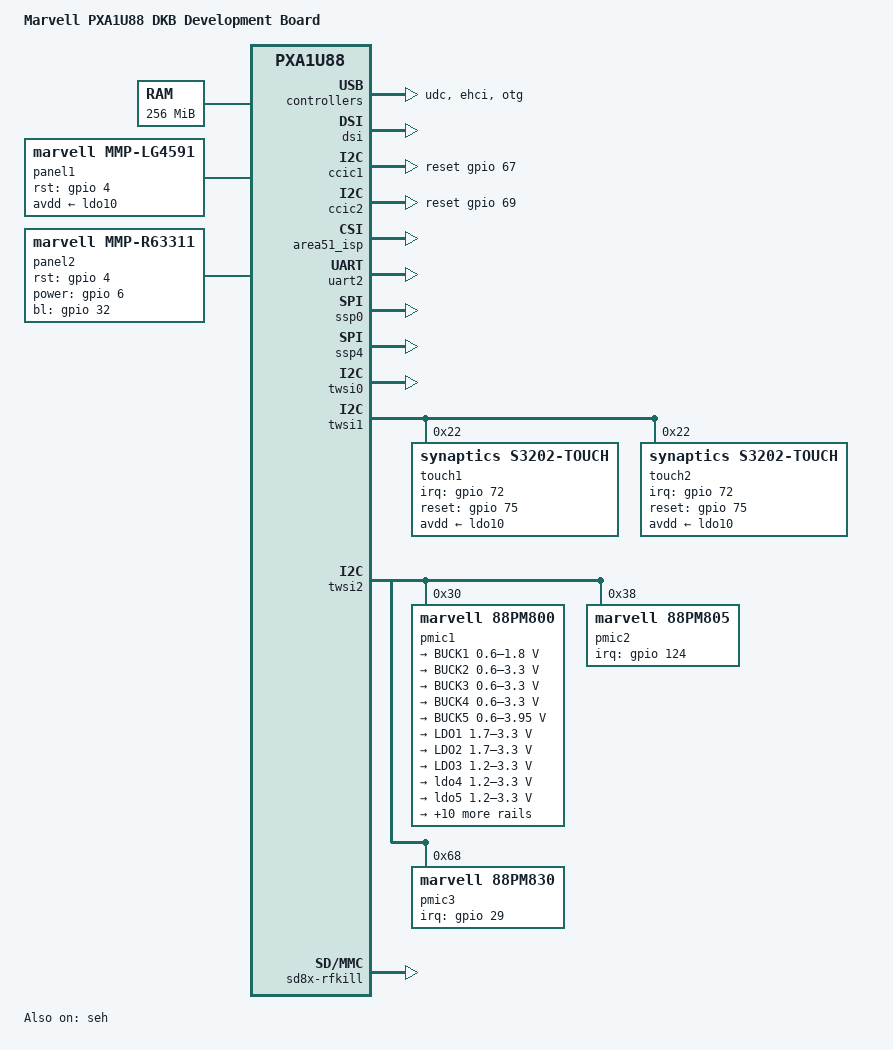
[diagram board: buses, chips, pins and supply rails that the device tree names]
/*
 *  Copyright (C) 2012 Marvell Technology Group Ltd.
 *  Author: Haojian Zhuang <haojian.zhuang@marvell.com>
 *
 *  This program is free software; you can redistribute it and/or modify
 *  it under the terms of the GNU General Public License version 2 as
 *  publishhed by the Free Software Foundation.
 */

/dts-v1/;
/memreserve/ 0x00000000 0x00100000;	/* OBM (1MB) */
/memreserve/ 0x09000000 0x01000000;	/* ION (16MB)*/
/memreserve/ 0x17000000 0x01800000;	/* Frame buffer (24MB) */
#include "pxa1U88.dtsi"

/ {
	model = "Marvell PXA1U88 DKB Development Board";
	compatible = "mrvl,pxa1U88-dkb", "mrvl,pxa1U88";

	chosen {
		bootargs = "console=ttyS0,115200 root=/dev/nfs nfsroot=192.168.1.100:/nfsroot/ ip=192.168.1.101:192.168.1.100::255.255.255.0::eth0:on";
	};

	memory {
		reg = <0x00000000 0x10000000>;
	};

	gic: interrupt-controller@d1dfa000 {
		status = "okay";
	};

	timer {
		status = "okay";
	};

	pmu {
		status = "okay";
	};

	soc {
		clock: clock-controller {
			status = "okay";
		};

		iommu@c0010000 {  /* iommu in vpu */
			status = "okay";
		};

		ddr@c0100000 {  /* DDR memory controller */
			status = "okay";
		};

		axi@d4200000 {	/* AXI */
			coda7542: coda7542@d420d000 {
				marvell,sram-internal = <1>;
				marvell,nv21_support = <1>;
				status = "okay";
			};

			intc: wakeupgen@d4282000 {
				status = "okay";
			};

			usbphy: usbphy@d4207000 {
				status = "okay";
			};

			udc: udc@d4208100 {
				status = "okay";
			};

			ehci: ehci@d4208100 {
				status = "okay";
			};

			otg: otg@d4208100 {
				status = "okay";
			};

			dsi: dsi@d420b800 {
				marvell,phy-name = "mmp_dsi1";
				marvell,plat-path-name = "mmp_pnpath";
				marvell,dsi-lanes = <4>;
				marvell,burst-mode = <2>;
				marvell,hbp-en;
				status = "okay";
			};

			vdma: vdma@d4209000 {
				marvell,vdma-num = <2>;
				status = "okay";
				vdma1 {
					marvell,vdma-id = <0>;
					marvell,sram-size = <30720>;
					marvell,is_vid = <0>;
				};
				vdma2 {
					marvell,vdma-id = <2>;
					marvell,sram-size = <30720>;
					marvell,is_vid = <1>;
				};
			};

			apical: apical@d420b400 {
				marvell,apical-num = <1>;
				status = "okay";
			};

			disp: disp@d420b000 {
				marvell,disp-name = "disp_name";
				marvell,path-num = <1>;
				status = "okay";
				path1 {
					marvell,path-name = "mmp_pnpath";
					marvell,overlay-num = <2>;
					marvell,overlay-table = <0>, <1>;
					marvell,output-type = <1>;
					marvell,path-config = <0x10>;
					marvell,link-config = <0x1>;
					1080p {
						disp1_clksrc = "pll1_416m";
						dsipll_clksrc = "pll1_832m";
						pn_sclk_clksrc = "dsi_pll";
					};
					720p {
						disp1_clksrc = "pll1_416m";
						dsipll_clksrc = "pll3";
						pn_sclk_clksrc = "disp1";
					};
					qhd {
						disp1_clksrc = "pll1_416m";
						dsipll_clksrc = "pll3";
						pn_sclk_clksrc = "disp1";
					};
				};
			};

			fb0: fbbase {
				marvell,fb-name = "mmp-fb";
				marvell,path-name = "mmp_pnpath";
				marvell,overlay-id = <1>;
				marvell,default-pixfmt = <0x108>;
				marvell,buffer-num = <3>;
				marvell,fb-mem = <0x17000000>;
				status = "okay";
			};

			fb1: fboverlay {
				marvell,fb-name = "mmp-fb-overlay";
				marvell,path-name = "mmp_pnpath";
				marvell,overlay-id = <0>;
				status = "okay";
			};

			/* eMMC */
			sdh3: sdh@d4281000 {
				pinctrl-names = "default";
				pinctrl-0 = <&sdh3_pmx_func1 &sdh3_pmx_func2>;
				bus-width = <8>;
				mrvl,clk-delay-cycles = <0x0>;
				non-removable;
				status = "okay";
			};

			/* SD card */
			sdh1: sdh@d4280000 {
				pinctrl-names = "default";
				pinctrl-0 = <&sdh1_pmx_func1 &sdh1_pmx_func2 &sdh1_pmx_func3 &sdh1_pmx_func4>;
				vqmmc-supply	= <&ldo5>;
				vmmc-supply	= <&ldo4>;
				cd-gpio = <&gpio 91 0>;
				bus-width = <4>;
				mrvl,clk-delay-cycles = <0x1f>;
				wp-inverted;
				status = "okay";
			};

			/* SDIO */
			sdh2: sdh@d4280800 {
				pinctrl-names = "default";
				pinctrl-0 = <&sdh2_pmx_func1 &sdh2_pmx_func2 &sdh2_pmx_func3 &sdh2_pmx_func4>;
				bus-width = <4>;
				mrvl,clk-delay-cycles = <0x0>;
				status = "okay";
			};

			ccic1: ccic@d420a000 {
			   pinctrl-names = "default";
			   pinctrl-0 = <&ccic1_pmx_func>;
			   pwdn-gpios = <&gpio 80 0>;
			   reset-gpios = <&gpio 67 0>;
			   af_2v8-supply = <&ldo10>;
			   avdd_2v8-supply = <&ldo11>;
			   dovdd_1v8-supply = <&voutsw>;
			   dvdd_1v2-supply = <&ldo12>;
			   status = "okay";
			};

			ccic2: ccic@d420a800 {
			   pinctrl-names = "default";
			   pinctrl-0 = <&ccic2_pmx_func>;
			   pwdn-gpios = <&gpio 68 0>;
			   reset-gpios = <&gpio 69 0>;
			   af_2v8-supply = <&ldo10>;
			   avdd_2v8-supply = <&ldo11>;
			   dovdd_1v8-supply = <&voutsw>;
			   dvdd_1v2-supply = <&ldo12>;
			   status = "okay";
			};

			area51_isp: area51_isp@0xD420F000 {
				status = "okay";
			};

			area51_ipc: area51_ipc@0xD4240000 {
				status = "okay";
			};

			vpu-devfreq {
				status = "okay";
			};

			asram: asram@d12a0000 {
				status = "okay";
			};

			adma0: adma@d128d800 {
				interrupts = <82>;
				status = "okay";
			};
			adma1: adma@d128d900 {
				interrupts = <83>;
				status = "okay";
			};
		};

		apb@d4000000 {
			pdma0: pdma@d4000000 {
				status = "okay";
			};

			timer2: timer@d401f000 {
				status = "okay";
			};

			uart2: uart@d4017000 {
				pinctrl-names = "default", "sleep";
				pinctrl-0 = <&uart2_pmx_func1 &uart2_pmx_func2>;
				pinctrl-1 = <&uart2_pmx_func1_sleep &uart2_pmx_func2>;
				edge-wakeup-gpio = <47>; /* GPIO47: UART rx pin */
				status = "okay";
			};

			edgewakeup: edgewakeup@d4019800 {
				status = "okay";
			};

			rtc: rtc@d4010000 {
				status = "okay";
			};

			thermal: thermal@d4013300 {
				status = "okay";
			};

			watchdog: watchdog@d4080000 {
				status = "okay";
			};

			keypad: keypad@d4012000 {
				keypad,num-rows = <2>;
				keypad,num-columns = <1>;
				linux,keymap = <0x00000073
						0x01000072>;
				marvell,debounce-interval = <30>;
				pinctrl-names = "default";
				pinctrl-0 = <&keypad_in_func  &keypad_out_func>;
				status = "okay";
			};

			keyreset {
				compatible = "marvell,keyreset";
				keys-down = <0x73 0x72>;
				keyreset-need-panic;
			};

			ssp0: ssp@d401b000 {
				status = "okay";
			};

			ssp4: ssp@d4039000 {
				status = "okay";
			};

			ssp_dai4: pxa-ssp-dai@4 {
				compatible = "mrvl,pxa-ssp-dai";
				reg = <0x4 0x0>;
				port = <&ssp4>;
				pinctrl-names = "default","ssp";
				pinctrl-0 = <&gssp_gpio>;
				pinctrl-1 = <&gssp_func>;
				ssp-gpio = <&gpio 25 0 &gpio 26 0 &gpio 27 0 &gpio 28 0>;
				dmas = <&pdma0 6 0
					&pdma0 7 0>;
				dma-names = "rx", "tx";
				platform_driver_name = "pdma_platform";
				burst_size = <8>;
				playback_period_bytes = <4096>;
				playback_buffer_bytes = <131072>;
				capture_period_bytes = <4096>;
				capture_buffer_bytes = <131072>;
			};

			/* SSPA port 0 */
			sspa0: sspa@d128dc00 {
				playback_period_bytes = <4096>;
				playback_buffer_bytes = <12288>;
				capture_period_bytes = <4096>;
				capture_buffer_bytes = <12288>;
				status = "okay";
			};

			/* SSPA port 1 */
			sspa1: sspa@d128dd00 {
				playback_period_bytes = <4096>;
				playback_buffer_bytes = <12288>;
				capture_period_bytes = <4096>;
				capture_buffer_bytes = <12288>;
				status = "okay";
			};

			map: map@d1200000 {
				status = "okay";
			};

			gpio: gpio@d4019000 {
				status = "okay";
				/*
				 * In theorical, some gpios could be routed to
				 * multiple pins. So define the gpio-ranges in
				 * board file, not silicon file.
				 */
				gcb0: gpio@d4019000 {
					/* gpio offset, pin offset, nr pins */
					gpio-ranges = <&pmx 0 55 32>;
				};
				gcb1: gpio@d4019004 {
					gpio-ranges = <&pmx 0 87 23>;
				};
				gcb2: gpio@d4019008 {
					gpio-ranges = <&pmx 3 110 29>;
				};
				gcb3: gpio@d4019100 {
					gpio-ranges = <&pmx 0 139 3  &pmx 28 52 1>;
				};
			};
			pmx: pinmux@d401e000 {
				status = "okay";

				/* pin base, nr pins & gpio function */
				pinctrl-single,gpio-range = <
					/*
					 * GPIO number is hardcoded for range at here.
					 * In gpio chip, GPIO number is not hardcoded for range.
					 * Since one gpio pin may be routed to multiple pins,
					 * define these gpio range in pxa910-dkb.dts not pxa910.dtsi.
					 */
					&range 55 55 0	/* GPIO0 ~ GPIO54 */
					&range 110 32 0 /* GPIO67 ~ GPIO98 */
					&range 52 1 0	/* GPIO124 */
				>;

				/* MFP_PULL_LOW | MFP_LPM_FLOAT */
				sdh1_pmx_func1: sdh1_pmx_func1 {
					pinctrl-single,pins = <
						MMC1_DAT7 AF0
						MMC1_DAT6 AF0
						MMC1_DAT5 AF0
						MMC1_DAT4 AF0
						MMC1_WP AF0
					>;
					DS_MEDIUM;PULL_DOWN;EDGE_NONE;LPM_FLOAT;
				};

				/* no pull, no LPM */
				sdh1_pmx_func2: sdh1_pmx_func2 {
					pinctrl-single,pins = <
						MMC1_DAT3 AF0
						MMC1_DAT2 AF0
						MMC1_DAT1 AF0
						MMC1_DAT0 AF0
						MMC1_CMD AF0
					>;
					MFP_DEFAULT;
				};

				/* MFP_LPM_DRIVE_LOW */
				sdh1_pmx_func3: sdh1_pmx_func3 {
					pinctrl-single,pins = <
						MMC1_CLK AF0
					>;
					MFP_LPM_DRIVE_LOW;
				};

				/* MFP_PULL_HIGH */
				sdh1_pmx_func4: sdh1_pmx_func4 {
					pinctrl-single,pins = <
						MMC1_CD AF0
					>;
					DS_MEDIUM;PULL_HIGH;EDGE_NONE;LPM_NONE;
				};

				sdh2_pmx_func1: sdh2_pmx_func1 {
						pinctrl-single,pins = <
							GPIO37 AF1
							GPIO38 AF1
							GPIO39 AF1
							GPIO40 AF1
							GPIO41 AF1
						>;
						MFP_DEFAULT;
				};

				sdh2_pmx_func2: sdh2_pmx_func2 {
						pinctrl-single,pins = <
							GPIO42 AF1
						>;
						MFP_LPM_DRIVE_LOW;
				};

				sdh2_pmx_func3: sdh2_pmx_func3 {
						pinctrl-single,pins = <
							GPIO7 AF0
							GPIO71 AF0
						>;
						DS_MEDIUM;PULL_FLOAT;EDGE_NONE;LPM_NONE;
				};

				sdh2_pmx_func4: sdh2_pmx_func4 {
						pinctrl-single,pins = <
							GPIO8 AF0
							GPIO9 AF0
						>;
						DS_MEDIUM;PULL_LOW;EDGE_NONE;LPM_NONE;
				};

				/* no pull, no LPM */
				sdh3_pmx_func1: sdh3_pmx_func1 {
					pinctrl-single,pins = <
						ND_IO7 AF1
						ND_IO6 AF1
						ND_IO5 AF1
						ND_IO4 AF1
						ND_IO3 AF1
						ND_IO2 AF1
						ND_IO1 AF1
						ND_IO0 AF1
						ND_CLE_SM_OEN AF1
						SM_BEN0 AF2
					>;
					MFP_DEFAULT;
				};

				/* MFP_LPM_DRIVE_LOW */
				sdh3_pmx_func2: sdh3_pmx_func2 {
					pinctrl-single,pins = <
						SM_SCLK AF1
					>;
					MFP_LPM_DRIVE_LOW;
				};

				/* MFP_LPM_FLOAT */
				lcd_pmx_rst: lcd_pmx_rst {
					pinctrl-single,pins = <
						0x78 0x1
					>;
					/* drive strength set value, mask */
					pinctrl-single,drive-strength = <0x1000 0x1800>;
					/* bias set value, enable, disable, mask */
					pinctrl-single,bias-pullup = <0x8000 0xc000 0x8000 0xc000>;
					pinctrl-single,bias-pulldown = <0x8000 0xa000 0x8000 0xa000>;
					/* input schmitt set value, mask */
					pinctrl-single,input-schmitt = <0 0x30>;
					/* set value, enable, disable, mask */
					pinctrl-single,input-schmitt-enable = <0x40 0 0x40 0x40>;
					/* lpm output set value, mask */
					pinctrl-single,lpm-output = <0x288 0x388>;
				};

				uart2_pmx_func1: uart2_pmx_func1 {
					pinctrl-single,pins = <
						GPIO47 AF6
					>;
					MFP_DEFAULT;
				};

				uart2_pmx_func2: uart2_pmx_func2 {
					pinctrl-single,pins = <
						GPIO48 AF6
					>;
					MFP_DEFAULT;
				};

				uart2_pmx_func1_sleep: uart2_pmx_func1_sleep {
					pinctrl-single,pins = <
						GPIO47 AF6
					>;
					DS_MEDIUM;PULL_NONE;EDGE_BOTH;LPM_NONE;
				};

				keypad_in_func: keypad_in_func {
					pinctrl-single,pins = <
						0x0dc 0x1	/* GPIO000_KP_MKIN0 */
						0x0e4 0x1	/* GPIO002_KP_MKIN1 */
					>;
					pinctrl-single,drive-strength = <0x1000 0x1800>;
					pinctrl-single,bias-pullup = <0 0xc000 0 0xc000>;
					pinctrl-single,bias-pulldown = <0 0xa000 0 0xa000>;
					pinctrl-single,input-schmitt = <0 0x30>;
					pinctrl-single,input-schmitt-enable = <0x40 0 0x40 0x40>;
					pinctrl-single,lpm-output = <0x0 0x388>;
				};

				keypad_out_func: keypad_out_func {
					pinctrl-single,pins = <
						0x0e0 0x1	/* GPIO001_KP_MKOUT0 */
					>;
					pinctrl-single,drive-strength = <0x1000 0x1800>;
					pinctrl-single,bias-pullup = <0x8000 0xc000 0x8000 0xc000>;
					pinctrl-single,bias-pulldown = <0x8000 0xa000 0x8000 0xa000>;
					pinctrl-single,input-schmitt = <0 0x30>;
					pinctrl-single,input-schmitt-enable = <0x40 0 0x40 0x40>;
					pinctrl-single,lpm-output = <0x308 0x388>;
				};

				ccic1_pmx_func: ccic1_pmx_func {
					pinctrl-single,pins = <
						0x1e0 0x1
					>;
					pinctrl-single,drive-strength = <0x1000 0x1800>;
					pinctrl-single,bias-pullup = <0 0xc000 0 0xc000>;
					pinctrl-single,bias-pulldown = <0 0xa000 0 0xa000>;
					pinctrl-single,input-schmitt = <0 0x30>;
					pinctrl-single,input-schmitt-enable = <0x40 0 0x40 0x40>;
					pinctrl-single,lpm-output = <0x0 0x388>;
				};

				ccic2_pmx_func: ccic2_pmx_func {
					pinctrl-single,pins = <
						0x1e0 0x1
					>;
					pinctrl-single,drive-strength = <0x1000 0x1800>;
					pinctrl-single,bias-pullup = <0 0xc000 0 0xc000>;
					pinctrl-single,bias-pulldown = <0 0xa000 0 0xa000>;
					pinctrl-single,input-schmitt = <0 0x30>;
					pinctrl-single,input-schmitt-enable = <0x40 0 0x40 0x40>;
					pinctrl-single,lpm-output = <0x0 0x388>;
				};

				twsi0_pmx_func: twsi0_pmx_func {
					/* gpio79/80: AF1 */
					pinctrl-single,pins = <
						0x1e8 0x1
						0x1ec 0x1
					>;
					pinctrl-single,drive-strength = <0x1000 0x1800>;
					pinctrl-single,bias-pullup = <0 0xc000 0 0xc000>;
					pinctrl-single,bias-pulldown = <0 0xa000 0 0xa000>;
					pinctrl-single,input-schmitt = <0 0x30>;
					pinctrl-single,input-schmitt-enable = <0x40 0 0x40 0x40>;
					pinctrl-single,lpm-output = <0x0 0x388>;
				};
				twsi1_pmx_func: twsi1_pmx_func {
					/* gpio87/88: AF5 */
					pinctrl-single,pins = <
						0x208 0x5
						0x20c 0x5
					>;
					pinctrl-single,drive-strength = <0x1000 0x1800>;
					pinctrl-single,bias-pullup = <0 0xc000 0 0xc000>;
					pinctrl-single,bias-pulldown = <0 0xa000 0 0xa000>;
					pinctrl-single,input-schmitt = <0 0x30>;
					pinctrl-single,input-schmitt-enable = <0x40 0 0x40 0x40>;
					pinctrl-single,lpm-output = <0x0 0x388>;
				};
				touch_pins: touch_pins {
					/* gpio 72/75 */
					pinctrl-single,pins = <
						0x01cc 0x0
						0x01d8 0x0
					>;
					pinctrl-single,drive-strength = <0x1000 0x1800>;
					pinctrl-single,bias-pullup = <0 0xc000 0 0xc000>;
					pinctrl-single,bias-pulldown = <0 0xa000 0 0xa000>;
					pinctrl-single,input-schmitt = <0 0x30>;
					pinctrl-single,input-schmitt-enable = <0x40 0 0x40 0x40>;
					pinctrl-single,lpm-output = <0x0 0x388>;

				};
				i2s_func: i2s_func {
					pinctrl-single,pins = <
						0x0130 0x1
						0x0134 0x1
						0x0138 0x1
						0x013c 0x1
					>;
					pinctrl-single,drive-strength = <0x1000 0x1800>;
					pinctrl-single,bias-pullup = <0 0xc000 0 0xc000>;
					pinctrl-single,bias-pulldown = <0 0xa000 0 0xa000>;
					pinctrl-single,input-schmitt = <0 0x30>;
					pinctrl-single,input-schmitt-enable = <0x40 0 0x40 0x40>;
					pinctrl-single,lpm-output = <0x0 0x388>;
				};
				i2s_gpio: i2s_gpio {
					pinctrl-single,pins = <
						0x0130 0x0
						0x0134 0x0
						0x0138 0x0
						0x013c 0x0
					>;
					/* drive strength set value, mask */
					pinctrl-single,drive-strength = <0x1000 0x1800>;
					/* bias set value, enable, disable, mask */
					pinctrl-single,bias-pullup = <0 0xc000 0 0xc000>;
					pinctrl-single,bias-pulldown = <0 0xa000 0 0xa000>;
					/* input schmitt set value, mask */
					pinctrl-single,input-schmitt = <0 0x30>;
					/* set value, enable, disable, mask */
					pinctrl-single,input-schmitt-enable = <0x40 0 0x40 0x40>;
					/* lpm output set value, mask */
					pinctrl-single,lpm-output = <0x288 0x388>;
				};
				/* no pull, no LPM */
				dvc_pmx_func: dvc_pmx_func {
					pinctrl-single,pins = <
						0x220 0x5
						0x224 0x5
					>;
					/* drive strength set value, mask */
					pinctrl-single,drive-strength = <0x1000 0x1800>;
					/* bias set value, enable, disable, mask */
					pinctrl-single,bias-pullup = <0 0xc000 0 0xc000>;
					pinctrl-single,bias-pulldown = <0 0xa000 0 0xa000>;
					/* input schmitt set value, mask */
					pinctrl-single,input-schmitt = <0 0x30>;
					/* set value, enable, disable, mask */
					pinctrl-single,input-schmitt-enable = <0x40 0 0x40 0x40>;
					/* lpm output set value, mask */
					pinctrl-single,lpm-output = <0 0x388>;
				};
				gssp_func: gssp_func {
					pinctrl-single,pins = <
						0x0140 0x1
						0x0144 0x1
						0x0148 0x1
						0x014c 0x1
					>;
					pinctrl-single,drive-strength = <0x1000 0x1800>;
					pinctrl-single,bias-pullup = <0 0xc000 0 0xc000>;
					pinctrl-single,bias-pulldown = <0 0xa000 0 0xa000>;
					pinctrl-single,input-schmitt = <0 0x30>;
					pinctrl-single,input-schmitt-enable = <0x40 0 0x40 0x40>;
					pinctrl-single,lpm-output = <0x0 0x388>;
				};
				gssp_gpio: gssp_gpio {
					pinctrl-single,pins = <
						0x0140 0x0
						0x0144 0x0
						0x0148 0x0
						0x014c 0x0
					>;
					/* drive strength set value, mask */
					pinctrl-single,drive-strength = <0x1000 0x1800>;
					/* bias set value, enable, disable, mask */
					pinctrl-single,bias-pullup = <0 0xc000 0 0xc000>;
					pinctrl-single,bias-pulldown = <0 0xa000 0 0xa000>;
					/* input schmitt set value, mask */
					pinctrl-single,input-schmitt = <0 0x30>;
					/* set value, enable, disable, mask */
					pinctrl-single,input-schmitt-enable = <0x40 0 0x40 0x40>;
					/* lpm output set value, mask */
					pinctrl-single,lpm-output = <0x288 0x388>;
				};
			};

			twsi0: i2c@d4011000 {
				pinctrl-names = "default";
				pinctrl-0 = <&twsi0_pmx_func>;
				status = "okay";

			};

			twsi1: i2c@d4010800 {
				        status = "okay";
					pinctrl-0 = <&twsi1_pmx_func>;

				touch1: s3202@720p {
					compatible = "synaptics,s3202-touch";
					pinctrl-names = "default"; pinctrl-0 = <&touch_pins>;
					reg = <0x22>;
					interrupt-parent = <&gpio>;
					interrupts = <72 0x1>;
					/* IRQF_ONESHOT | IRQF_TRIGGER_FALLING */
					synaptics,irq-flags =  <0x2002>;
					synaptics,irq-gpios = <&gpio 72 0>;
					synaptics,reset-gpios = <&gpio 75 0>;
					synaptics,sensor_res_x = <720>;
					synaptics,sensor_res_y = <1280>;
					synaptics,sensor_max_x = <798>;
					synaptics,sensor_max_y = <1392>;
					synaptics,sensor_margin_x = <39>;
					synaptics,sensor_margin_y = <0>;
					avdd-supply = <&ldo10>;
				};

				touch2: s3202@1080p {
					compatible = "synaptics,s3202-touch";
					pinctrl-names = "default"; pinctrl-0 = <&touch_pins>;
					reg = <0x22>;
					interrupt-parent = <&gpio>;
					interrupts = <72 0x1>;
					/* IRQF_ONESHOT | IRQF_TRIGGER_FALLING */
					synaptics,irq-flags =  <0x2002>;
					synaptics,irq-gpios = <&gpio 72 0>;
					synaptics,reset-gpios = <&gpio 75 0>;
					synaptics,sensor_res_x = <1080>;
					synaptics,sensor_res_y = <1920>;
					synaptics,sensor_max_x = <1080>;
					synaptics,sensor_max_y = <2070>;
					synaptics,sensor_margin_x = <0>;
					synaptics,sensor_margin_y = <0>;
					avdd-supply = <&ldo10>;
				};


			};

			twsi2: i2c@d4037000 {
				status = "okay";

				pmic1: 88pm822@30 {
					compatible = "marvell,88pm800";
					reg = <0x30>;
					interrupts = <0 4 0x4>;
					interrupt-parent = <&gic>;
					interrupt-controller;
					#interrupt-cells = <1>;
					marvell,88pm800-irq-write-clear;

					marvell,88pm800-power-page-addr = <0x31>;
					marvell,88pm800-gpadc-page-addr = <0x32>;

					regulators {
						compatible = "marvell,88pm80x-regulator";

						BUCK1 {
							regulator-compatible = "88PM800-BUCK1";
							regulator-min-microvolt = <600000>;
							regulator-max-microvolt = <1800000>;
							regulator-boot-on;
							regulator-always-on;
						};
						BUCK2 {
							regulator-compatible = "88PM800-BUCK2";
							regulator-min-microvolt = <600000>;
							regulator-max-microvolt = <3300000>;
							regulator-boot-on;
							regulator-always-on;
						};
						BUCK3 {
							regulator-compatible = "88PM800-BUCK3";
							regulator-min-microvolt = <600000>;
							regulator-max-microvolt = <3300000>;
							regulator-boot-on;
							regulator-always-on;
						};
						BUCK4 {
							regulator-compatible = "88PM800-BUCK4";
							regulator-min-microvolt = <600000>;
							regulator-max-microvolt = <3300000>;
							regulator-boot-on;
							regulator-always-on;
						};
						BUCK5 {
							regulator-compatible = "88PM800-BUCK5";
							regulator-min-microvolt = <600000>;
							regulator-max-microvolt = <3950000>;
							regulator-boot-on;
							regulator-always-on;
						};
						LDO1 {
							regulator-compatible = "88PM800-LDO1";
							regulator-min-microvolt = <1700000>;
							regulator-max-microvolt = <3300000>;
							regulator-boot-on;
							regulator-always-on;
						};
						LDO2 {
							regulator-compatible = "88PM800-LDO2";
							regulator-min-microvolt = <1700000>;
							regulator-max-microvolt = <3300000>;
							regulator-boot-on;
							regulator-always-on;
						};
						LDO3 {
							regulator-compatible = "88PM800-LDO3";
							regulator-min-microvolt = <1200000>;
							regulator-max-microvolt = <3300000>;
							regulator-boot-on;
							regulator-always-on;
						};
						ldo4: LDO4 {
							regulator-compatible = "88PM800-LDO4";
							regulator-min-microvolt = <1200000>;
							regulator-max-microvolt = <3300000>;
						};
						ldo5: LDO5 {
							regulator-compatible = "88PM800-LDO5";
							regulator-min-microvolt = <1200000>;
							regulator-max-microvolt = <3300000>;
						};
						LDO6 {
							regulator-compatible = "88PM800-LDO6";
							regulator-min-microvolt = <1200000>;
							regulator-max-microvolt = <3300000>;
							regulator-boot-on;
						};
						LDO7 {
							regulator-compatible = "88PM800-LDO7";
							regulator-min-microvolt = <1200000>;
							regulator-max-microvolt = <3300000>;
							regulator-boot-on;
							regulator-always-on;
						};
						ldo8: LDO8 {
							regulator-compatible = "88PM800-LDO8";
							regulator-min-microvolt = <1200000>;
							regulator-max-microvolt = <3300000>;
							regulator-boot-on;
							regulator-always-on;
						};
						LDO9 {
							regulator-compatible = "88PM800-LDO9";
							regulator-min-microvolt = <1200000>;
							regulator-max-microvolt = <3300000>;
						};
						ldo10: LDO10 {
							regulator-compatible = "88PM800-LDO10";
							regulator-min-microvolt = <1200000>;
							regulator-max-microvolt = <3300000>;
							regulator-boot-on;
							regulator-always-on;
						};
						ldo11: LDO11 {
							regulator-compatible = "88PM800-LDO11";
							regulator-min-microvolt = <1200000>;
							regulator-max-microvolt = <3300000>;
							regulator-boot-on;
						};
						ldo12: LDO12 {
							regulator-compatible = "88PM800-LDO12";
							regulator-min-microvolt = <600000>;
							regulator-max-microvolt = <1500000>;
							regulator-boot-on;
						};
						LDO13 {
							regulator-compatible = "88PM800-LDO13";
							regulator-min-microvolt = <1700000>;
							regulator-max-microvolt = <3300000>;
							regulator-boot-on;
						};
						ldo14: LDO14 {
							regulator-compatible = "88PM800-LDO14";
							regulator-min-microvolt = <1700000>;
							regulator-max-microvolt = <2800000>;
						};
						voutsw: VOUTSW {
							regulator-compatible = "88PM800-VOUTSW";
							regulator-min-microvolt = <1700000>;
							regulator-max-microvolt = <1800000>;
						};
					};

					vibrator: vibrator {
						compatible = "marvell,88pm80x-vibrator";
						min-timeout = <10>;
						duty-cycle = <0x3f>;
					};

					usb: usb {
						compatible = "marvell,88pm80x-usb";
						vbus-gpio = <2>;
						id-gpadc = <0xff>;
					};

					headset {
						compatible = "marvell,88pm80x-headset";
						marvell,switch-name = "h2w";
						marvell,headset-flag = <1>;
						marvell,hook-press-th = <60>;
						marvell,vol-up-press-th = <250>;
						marvell,vol-down-press-th = <500>;
						marvell,mic-det-th = <600>;
						marvell,press-release-th = <600>;
						marvell,micbias-supply = <&ldo14>;
					};

					dvc {
						compatible = "marvell,88pm8xx-dvc";
						/* pm822 dvc affect buck1/3/5, affected 32bit = (1 << 4) | (1 << 2) | (1 << 0)*/
						dvc-affected-buckbits = <21>;
						pinctrl-names = "default";
						pinctrl-0 = <&dvc_pmx_func>;
					};
				};
				pmic2: 88pm805@38 {
					compatible = "marvell,88pm805";
					reg = <0x38>;
					interrupt-parent = <&gpio>;
					interrupts = <124 0x1>;
					marvell,88pm805-irq-write-clear;
				};

				pmic3: 88pm830@68 {
					compatible = "marvell,88pm830";

					reg = <0x68>;
					interrupt-parent = <&gpio>;
					interrupt-controller;
					/* edge falling */
					interrupts = <29 2>;
					#interrupt-cells = <1>;

					/* IRQF_ONESHOT | IRQF_TRIGGER_FALLING */
					marvell,88pm830-irq-flags =  <0x2002>;

					charger {
						compatible = "marvell,88pm830-chg";
						prechg-current = <100>;	/* mA */
						prechg-voltage = <3300>; /* mV */
						prechg-timeout = <32>; /* minute */

						fastchg-eoc = <60>; /* mA */
						fastchg-voltage = <4200>; /* mV */
						fastchg-timeout = <8>; /* hour */

						over-voltage = <4300>; /* mV */

						no-thermal-support = <0>;
						thermal-threshold = <0xf 0xf 0x0 0x0>;

						temp-configure = <0x22>;
						temp-threshold = <150>;

						mppt-weight = <0x2>; /* 25% */
						mppt-period = <0x7>; /* 20ms */
						mppt-start-current = <0xf>; /* 1600mA */

					};

					battery {
						compatible = "marvell,88pm830-bat";

						bat-ntc-support = <1>;
						bat-capacity = <1500>;	/* mAh */
						external-resistor = <200>; /* mohm */
						sleep-period = <1000>; /* second */
						low-threshold = <30>; /* % */
						high-threshold = <50>; /* % */
					};

					usb {
						compatible = "marvell,88pm830-vbus";
						gpadc-number = <1>;
					};

					led {
						compatible = "marvell,88pm830-led";

						flash-en-gpio = <19>;
						flash-txmsk-gpio = <18>;
					};
				};
			};

			acipc: acipc@d401d000 {
				status = "okay";
			};

			seh: seh@d4080000 {
				compatible = "mrvl,seh";
				reg = <0xd4080000 0x100>;
				interrupts = <0 32 0x4>;
				interrupt-names = "CP_TIMER2_3";
				watchdog-type = <1>; /* soc timer */
				timer-num = <2>; /* timer num */
				match-num = <0>; /* match num */
				status = "okay";
			};
		};

		sram: sram@0xd1004000 {
			status = "okay";
		};

		soc-isp {
			status = "okay";
		};

		soc-camera@0 {
			status = "okay";
		};

		soc-camera@1 {
			status = "okay";
		};

		ramoops {
			status = "okay";
		};
	};

	sound {
		compatible = "marvell,mmp-map-snd-card";
		sspa-controllers = <&sspa0 &sspa1>;
	};

	ion {
		marvell,ion-nr = <2>;
		status = "okay";
		heap1 {
			marvell,ion-name = "carveout_heap";
			marvell,ion-type = <2>;
			marvell,ion-id = <2>;
			marvell,ion-base = <0x09000000>;
			marvell,ion-size = <0x01000000>;
		};
		heap2 {
			marvell,ion-name = "system_heap";
			marvell,ion-type = <0>;
			marvell,ion-id = <0>;
		};
	};

	panel1: lg4591 {
		compatible = "marvell,mmp-lg4591";
		marvell,path-name = "mmp_pnpath";
		rst_gpio = <&gpio 4 0>;
		avdd-supply = <&ldo10>;
		status = "okay";
	};

	panel2: r63311 {
		compatible = "marvell,mmp-r63311";
		marvell,path-name = "mmp_pnpath";
		marvell,ddrfreq-qos = <2>; /* DDR_CONSTRAINT_LVL1 */
		rst_gpio = <&gpio 4 0>;
		power_gpio = <&gpio 6 0>;
		bl_gpio = <&gpio 32 0>;
		status = "okay";
	};

	sd8x-rfkill {
		sd-host = <&sdh2>;
		pd-gpio = <&gpio 7 0>;
		rst-gpio = <&gpio 71 0>;
		status = "okay";
	};

};
